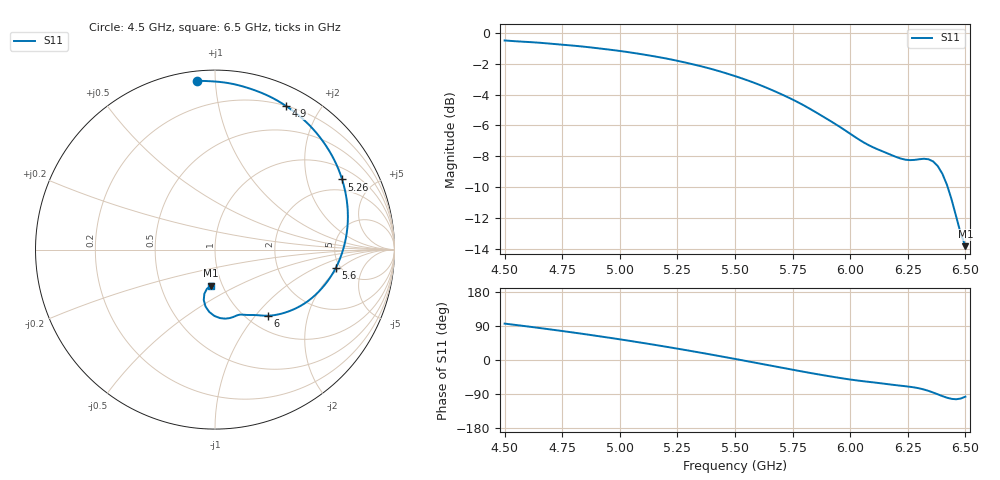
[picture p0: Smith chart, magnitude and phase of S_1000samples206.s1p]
! TOUCHSTONE file generated by CST MICROWAVE STUDIO
! Date and time: Thu Oct 27 09:19:03 2022
! Project name: L.cst
! Parameters = {Di=1.27; Epsilon_r=1.56; InnerDiameter=1.27; Length=2; Lf=10; Lg=60; OuterConductorThickness=0.2921; OuterDiameter=3.6; Wf=3; Wp=41.2; de=1.5; df=6.8; g=0.8; gx=4.29552; gy=4.96584; h=2.34; hf=1.524; px=14.5493; py=12.6074; w=9.7; wx=10.2538; wy=7.64152}
! Header version: 2018
! Port assignment regex: !\s*Touchstone port\s*([0-9]+)\s*=\s*(CST MWS port|CST DS port)\s*([0-9]+|Zmin|Zmax)\s*\(\"(.*)\"\)(\s*mode\s*([0-9]+))?.*
! Touchstone port assignment:
! Touchstone port 1 = CST MWS port 1 ("")
# GHz S DB R 50
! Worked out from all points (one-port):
!   101 points, 4.5 GHz to 6.5 GHz, reference 50 ohm
!   lowest |S11| = -13.8 dB at 6.5 GHz (marker M1), VSWR 1.51, Z = 44 - j18.5 ohm
!   |S11| at or under -10 dB: 6.423 GHz to end of sweep
!   S11 on the Smith chart (normalised r, x): 4.5 GHz: 0.05, +0.90; 4.9 GHz: 0.20, +1.59; 5.26 GHz: 1.45, +3.29; 5.6 GHz: 4.59, -1.73; 6 GHz: 1.22, -1.16; 6.5 GHz: 0.88, -0.37
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4.5  -0.49 96.0
4.64  -0.63 85.4
4.76  -0.78 75.7
4.82  -0.86 70.6
4.9  -0.99 63.6
5  -1.17 54.5
5.14  -1.50 41.1
5.26  -1.84 28.9
5.38  -2.27 16.1
5.44  -2.52 9.5
5.5  -2.80 2.8
5.6  -3.33 -8.5
5.68  -3.84 -17.7
5.76  -4.40 -26.7
5.82  -4.88 -33.5
5.88  -5.41 -39.8
6  -6.55 -51.5
6.1  -7.43 -59.0
6.26  -8.26 -70.7
6.32  -8.17 -77.8
6.36  -8.35 -85.8
6.38  -8.65 -90.5
6.4  -9.14 -95.2
6.42  -9.86 -99.5
6.44  -10.81 -102.6
6.46  -11.92 -103.6
6.48  -13.04 -101.6
6.5  -13.85 -96.8
